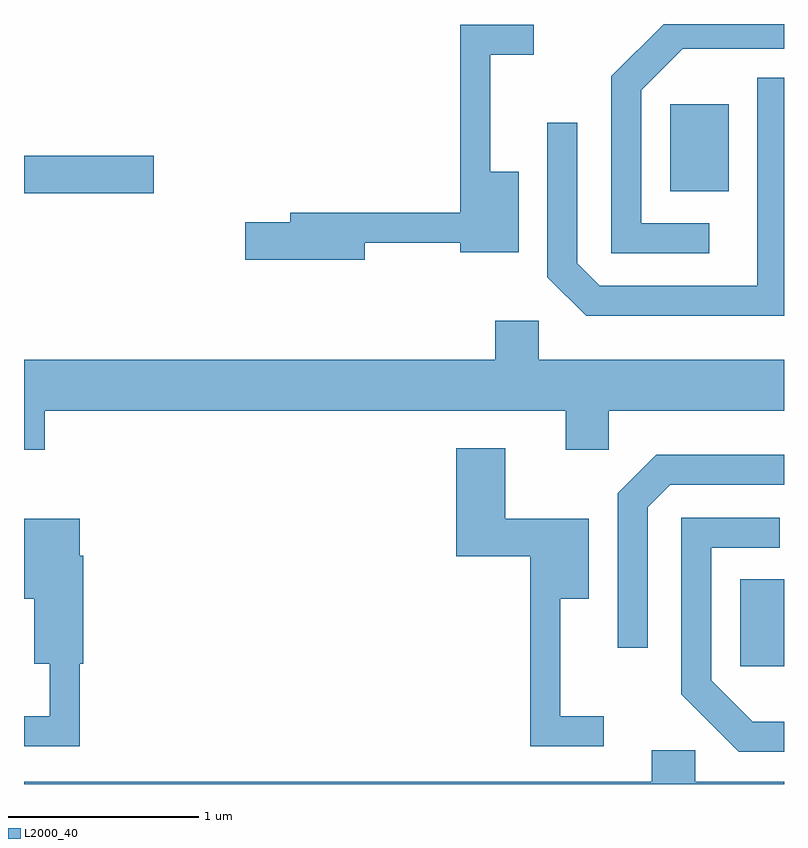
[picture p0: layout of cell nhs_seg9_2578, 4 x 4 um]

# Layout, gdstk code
import gdstk
lib = gdstk.Library(unit=1e-6, precision=1e-09)
def R(c, l, rs):  # rectangles x0, y0, x1, y1
    for r in rs: c.add(gdstk.rectangle(r[:2], r[2:], *l))
def P(c, l, *ps):  # polygons
    for p in ps: c.add(gdstk.Polygon(p, *l))
L2000_40 = (2000, 40)

nhs_seg9_2578 = lib.new_cell('nhs_seg9_2578')
R(nhs_seg9_2578, L2000_40, [(263.381,2077.051,263.611,2077.509), (259.611,2079.541,260.294,2079.739), (263.011,2079.551,263.319,2080.009)])
P(nhs_seg9_2578, L2000_40, [(263.218,2079.384),(262.859,2079.384),(262.859,2080.084),(263.077,2080.301),(263.611,2080.301),(263.611,2080.432),(262.977,2080.432),(262.701,2080.157),(262.701,2079.226),(263.218,2079.226)],
  [(261.404,2079.281),(261.906,2079.281),(261.906,2079.231),(262.214,2079.231),(262.214,2079.654),(262.064,2079.654),(262.064,2080.271),(262.293,2080.271),(262.293,2080.429),(261.906,2080.429),(261.906,2079.439),(261.011,2079.439),(261.011,2079.389),(260.776,2079.389),(260.776,2079.191),(261.404,2079.191)],
  [(263.611,2080.149),(263.471,2080.149),(263.471,2079.054),(262.642,2079.054),(262.524,2079.172),(262.524,2079.913),(262.366,2079.913),(262.366,2079.099),(262.569,2078.896),(263.611,2078.896)],
  [(262.091,2078.869),(262.091,2078.664),(259.611,2078.664),(259.611,2078.191),(259.719,2078.191),(259.719,2078.396),(262.461,2078.396),(262.461,2078.191),(262.689,2078.191),(262.689,2078.396),(263.611,2078.396),(263.611,2078.664),(262.319,2078.664),(262.319,2078.869)],
  [(262.663,2076.789),(262.434,2076.789),(262.434,2077.406),(262.584,2077.406),(262.584,2077.829),(262.144,2077.829),(262.144,2078.199),(261.886,2078.199),(261.886,2077.631),(262.276,2077.631),(262.276,2076.631),(262.663,2076.631)],
  [(262.894,2077.889),(263.012,2078.006),(263.611,2078.006),(263.611,2078.164),(262.939,2078.164),(262.736,2077.962),(262.736,2077.148),(262.894,2077.148)],
  [(263.611,2076.759),(263.447,2076.759),(263.229,2076.977),(263.229,2077.676),(263.588,2077.676),(263.588,2077.834),(263.071,2077.834),(263.071,2076.904),(263.374,2076.601),(263.611,2076.601)],
  [(259.904,2077.066),(259.924,2077.066),(259.924,2077.634),(259.904,2077.634),(259.904,2077.829),(259.611,2077.829),(259.611,2077.406),(259.666,2077.406),(259.666,2077.066),(259.746,2077.066),(259.746,2076.789),(259.611,2076.789),(259.611,2076.631),(259.904,2076.631)],
  [(263.611,2076.444),(263.144,2076.444),(263.144,2076.609),(262.916,2076.609),(262.916,2076.444),(259.611,2076.444),(259.611,2076.432),(263.611,2076.432)])

lib.write_gds('nhs_seg9_2578.gds')
